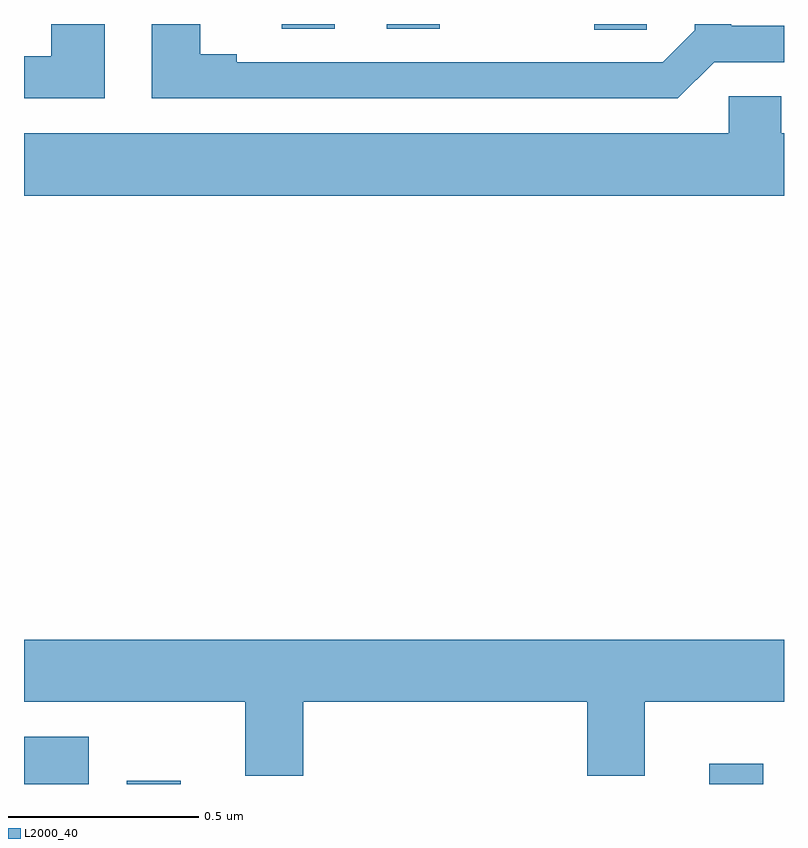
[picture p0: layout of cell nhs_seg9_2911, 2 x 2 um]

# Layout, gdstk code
import gdstk
lib = gdstk.Library(unit=1e-6, precision=1e-09)
def R(c, l, rs):  # rectangles x0, y0, x1, y1
    for r in rs: c.add(gdstk.rectangle(r[:2], r[2:], *l))
def P(c, l, *ps):  # polygons
    for p in ps: c.add(gdstk.Polygon(p, *l))
L2000_40 = (2000, 40)

nhs_seg9_2911 = lib.new_cell('nhs_seg9_2911')
R(nhs_seg9_2911, L2000_40, [(146,1233.5,146.17,1233.625), (146.27,1233.5,146.413,1233.508), (147.803,1233.5,147.946,1233.553), (147.5,1235.485,147.639,1235.5), (146.678,1235.487,146.818,1235.5), (146.954,1235.487,147.094,1235.5)])
P(nhs_seg9_2911, L2000_40, [(147.817,1235.4),(148,1235.4),(148,1235.496),(147.861,1235.496),(147.861,1235.5),(147.765,1235.5),(147.765,1235.484),(147.681,1235.4),(146.56,1235.4),(146.56,1235.42),(146.464,1235.42),(146.464,1235.5),(146.336,1235.5),(146.336,1235.304),(147.721,1235.304)],
  [(146.212,1235.5),(146.072,1235.5),(146.072,1235.415),(146,1235.415),(146,1235.304),(146.212,1235.304)],
  [(148,1235.212),(147.993,1235.212),(147.993,1235.31),(147.855,1235.31),(147.855,1235.212),(146,1235.212),(146,1235.048),(148,1235.048)],
  [(146.735,1233.716),(147.482,1233.716),(147.482,1233.522),(147.634,1233.522),(147.634,1233.716),(148,1233.716),(148,1233.88),(146,1233.88),(146,1233.716),(146.582,1233.716),(146.582,1233.522),(146.735,1233.522)])

lib.write_gds('nhs_seg9_2911.gds')
